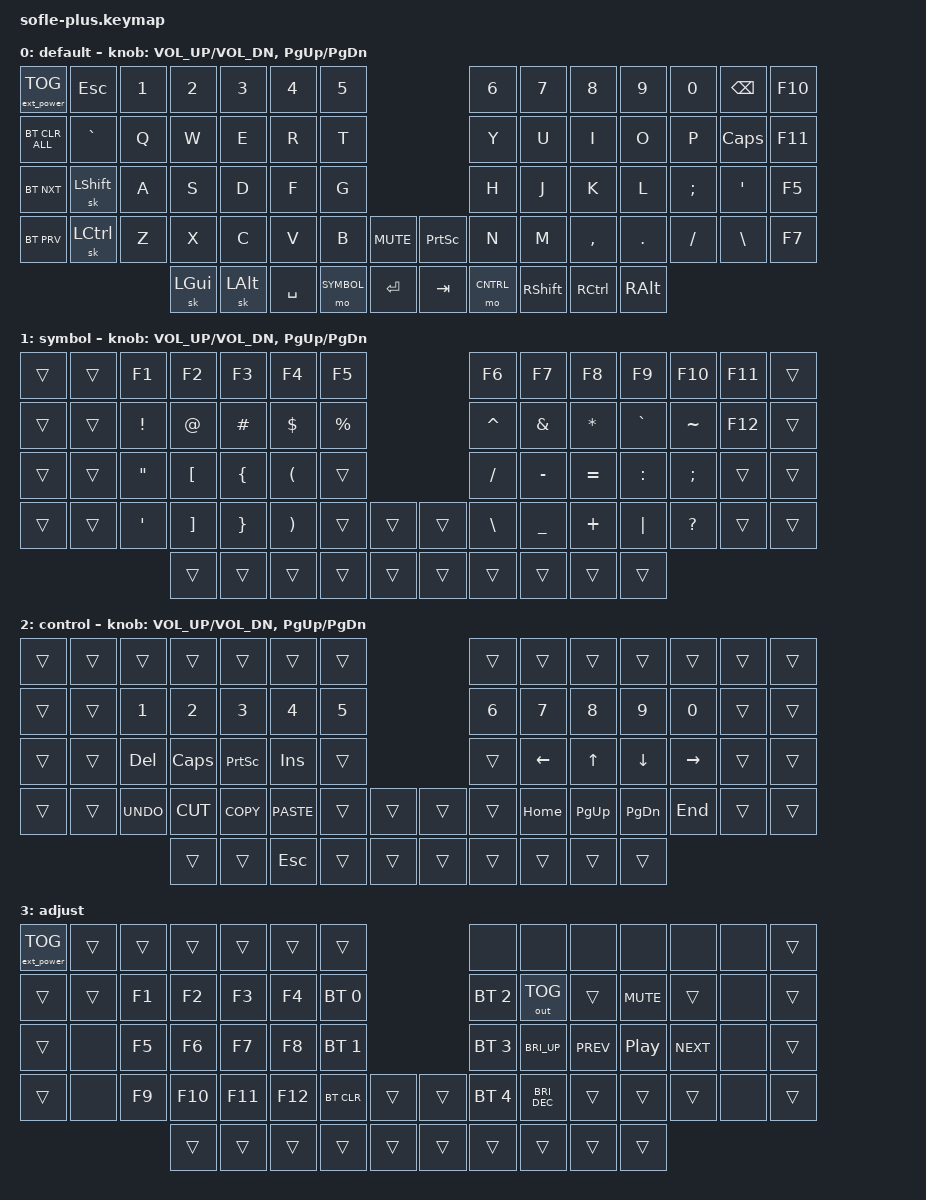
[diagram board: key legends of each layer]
/*
 * Copyright (c) 2020 The ZMK Contributors
 *
 * SPDX-License-Identifier: MIT
 */

#include <behaviors.dtsi>
#include <dt-bindings/zmk/bt.h>
#include <dt-bindings/zmk/ext_power.h>
#include <dt-bindings/zmk/keys.h>
#include <dt-bindings/zmk/outputs.h>

#define BASE 0
#define SYMBOL 1
#define CNTRL 2
#define ADJUST 3

/ {
    // Activate ADJUST layer by pressing control and symbol

    conditional_layers {
        compatible = "zmk,conditional-layers";

        adjust_layer {
            if-layers = <SYMBOL CNTRL>;
            then-layer = <ADJUST>;
        };
    };

    keymap {
        compatible = "zmk,keymap";

        default_layer {
            display-name = "default";

            // ------------------------------------------------------------------------------------------------------------
            // | EP_TOG |   `  |  1  |  2  |  3   |  4   |  5   |                   |  6   |  7    |  8    |  9   |   0   | BACKS | F10 |
            // | BT_CLR | ESC  |  Q  |  W  |  E   |  R   |  T   |                   |  Y   |  U    |  I    |  O   |   P   | CAPS  | F11 |
            // | BT_NXT | TAB  |  A  |  S  |  D   |  F   |  G   |                   |  H   |  J    |  K    |  L   |   ;   |   '   | F5  |
            // | BT_PRV |SHIFT |  Z  |  X  |  C   |  V   |  B   |  MUTE  |  | PRTSC |  N   |  M    |  ,    |  .   |   /   | SHIFT | F7  |
            //                 | GUI | ALT | CTRL | SYM  |  ENTER |              | SPACE | CNTRL| CTRL  | ALT   | GUI  |

            bindings = <
&ext_power EP_TOG  &kp ESC           &kp N1  &kp N2    &kp N3    &kp N4     &kp N5                                   &kp N6     &kp N7      &kp N8     &kp N9         &kp N0    &kp BACKSPACE  &kp F10
&bt BT_CLR_ALL     &kp GRAVE         &kp Q   &kp W     &kp E     &kp R      &kp T                                    &kp Y      &kp U       &kp I      &kp O          &kp P     &kp CAPSLOCK   &kp F11
&bt BT_NXT         &sk LSHFT         &kp A   &kp S     &kp D     &kp F      &kp G                                    &kp H      &kp J       &kp K      &kp L          &kp SEMI  &kp SQT        &kp F5
&bt BT_PRV         &sk LEFT_CONTROL  &kp Z   &kp X     &kp C     &kp V      &kp B       &kp C_MUTE  &kp PRINTSCREEN  &kp N      &kp M       &kp COMMA  &kp DOT        &kp FSLH  &kp BSLH       &kp F7
                                             &sk LGUI  &sk LALT  &kp SPACE  &mo SYMBOL  &kp RET     &kp TAB          &mo CNTRL  &kp RSHIFT  &kp RCTRL  &kp RIGHT_ALT
            >;

            sensor-bindings =
                <&inc_dec_kp C_VOL_UP C_VOL_DN>,
                <&inc_dec_kp PAGE_UP PAGE_DOWN>;
        };

        symbol_layer {
            display-name = "symbol";

            // TODO: Some binds are waiting for shifted keycode support.
            // ------------------------------------------------------------------------------------------------------------
            // |       |  F1 |  F2 |  F3  |  F4  |  F5  |                   |  F6  |  F7   |  F8   |  F9  |  F10  |  F11  |
            // |   `   |  1  |  2  |  3   |  4   |  5   |                   |  6   |  7    |  8    |  9   |   0   |  F12  |
            // |       |  !  |  @  |  #   |  $   |  %   |                   |  ^   |  &    |  *    |  (   |   )   |   |   |
            // |       |  =  |  -  |  +   |  {   |  }   |        |  |       |  [   |  ]    |  ;    |  :   |   \   |       |
            //               |     |      |      |      |        |  |       |      |       |       |      |

            bindings = <
&trans  &trans  &kp F1    &kp F2    &kp F3    &kp F4      &kp F5                     &kp F6     &kp F7     &kp F8     &kp F9     &kp F10    &kp F11  &trans
&trans  &trans  &kp EXCL  &kp AT    &kp HASH  &kp DOLLAR  &kp PRCNT                  &kp CARET  &kp AMPS   &kp ASTRK  &kp GRAVE  &kp TILDE  &kp F12  &trans
&trans  &trans  &kp DQT   &kp LBKT  &kp LBRC  &kp LPAR    &trans                     &kp FSLH   &kp MINUS  &kp EQUAL  &kp COLON  &kp SEMI   &trans   &trans
&trans  &trans  &kp SQT   &kp RBKT  &kp RBRC  &kp RPAR    &trans     &trans  &trans  &kp BSLH   &kp UNDER  &kp PLUS   &kp PIPE   &kp QMARK  &trans   &trans
                          &trans    &trans    &trans      &trans     &trans  &trans  &trans     &trans     &trans     &trans
            >;

            sensor-bindings = <&inc_dec_kp C_VOL_UP C_VOL_DN &inc_dec_kp PG_UP PG_DN>;
        };

        control_layer {
            display-name = "control";

            // ------------------------------------------------------------------------------------------------------------
            // | BTCLR | BT1  | BT2  |  BT3  |  BT4  |  BT5 |                |      |      |       |      |       |       |
            // |       | INS  | PSCR | GUI   |       |      |                | PGUP |      |   ^   |      |       |       |
            // |       | ALT  | CTRL | SHIFT |       | CAPS |                | PGDN |   <- |   v   |  ->  |  DEL  | BKSPC |
            // |       | UNDO | CUT  | COPY  | PASTE |      |      |  |      |      |      |       |      |       |       |
            //                |      |       |       |      |      |  |      |      |      |       |      |

            bindings = <
&trans  &trans  &trans      &trans     &trans           &trans       &trans                  &trans  &trans    &trans       &trans         &trans     &trans  &trans
&trans  &trans  &kp N1      &kp N2     &kp N3           &kp N4       &kp N5                  &kp N6  &kp N7    &kp N8       &kp N9         &kp N0     &trans  &trans
&trans  &trans  &kp DEL     &kp CAPS   &kp PRINTSCREEN  &kp INS      &trans                  &trans  &kp LEFT  &kp UP       &kp DOWN       &kp RIGHT  &trans  &trans
&trans  &trans  &kp K_UNDO  &kp K_CUT  &kp K_COPY       &kp K_PASTE  &trans  &trans  &trans  &trans  &kp HOME  &kp PAGE_UP  &kp PAGE_DOWN  &kp END    &trans  &trans
                            &trans     &trans           &kp ESC      &trans  &trans  &trans  &trans  &trans    &trans       &trans
            >;

            sensor-bindings = <&inc_dec_kp C_VOL_UP C_VOL_DN &inc_dec_kp PG_UP PG_DN>;
        };

        adjust_layer {
            // ----------------------------------------------------------------------------------------------------------------------------
            // | BTCLR  |  BT1    |  BT2    |   BT3   |   BT4   |   BT5   |                  |      |      |       |      |       |       |
            // | EXTPWR | RGB_HUD | RGB_HUI | RGB_SAD | RGB_SAI | RGB_EFF |                  |      |      |       |      |       |       |
            // |        | RGB_BRD | RGB_BRI |         |         |         |                  |      |      |       |      |       |       |
            // |        |         |         |         |         |         | RGB_TOG | |      |      |      |       |      |       |       |
            //                    |         |         |         |         |         | |      |      |      |       |      |

            display-name = "adjust";
            bindings = <
&ext_power EP_TOG  &trans  &trans  &trans   &trans   &trans   &trans                        &none         &none          &none       &none             &none       &none  &trans
&trans             &trans  &kp F1  &kp F2   &kp F3   &kp F4   &bt BT_SEL 0                  &bt BT_SEL 2  &out OUT_TOG   &trans      &kp C_MUTE        &trans      &none  &trans
&trans             &none   &kp F5  &kp F6   &kp F7   &kp F8   &bt BT_SEL 1                  &bt BT_SEL 3  &kp C_BRI_UP   &kp C_PREV  &kp C_PLAY_PAUSE  &kp C_NEXT  &none  &trans
&trans             &none   &kp F9  &kp F10  &kp F11  &kp F12  &bt BT_CLR    &trans  &trans  &bt BT_SEL 4  &kp C_BRI_DEC  &trans      &trans            &trans      &none  &trans
                                   &trans   &trans   &trans   &trans        &trans  &trans  &trans        &trans         &trans      &trans
            >;
        };
    };
};
